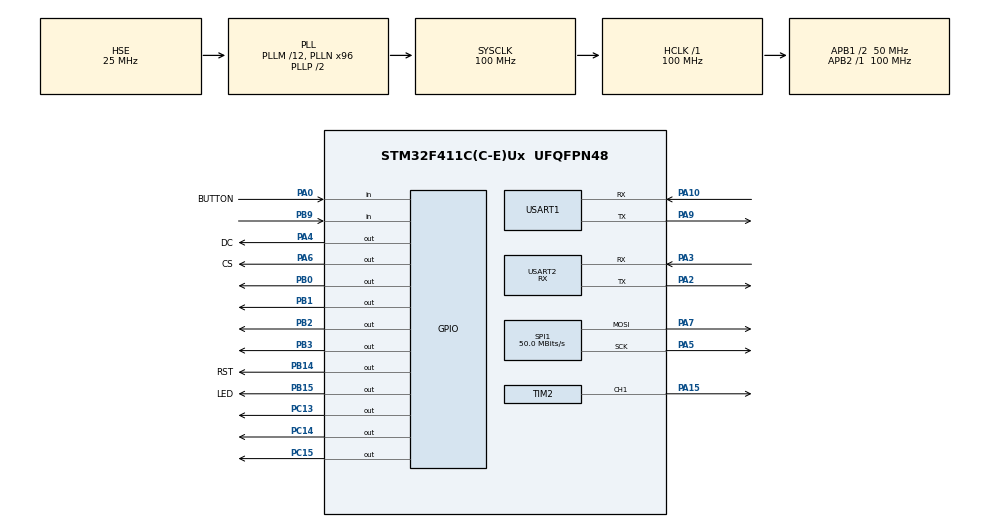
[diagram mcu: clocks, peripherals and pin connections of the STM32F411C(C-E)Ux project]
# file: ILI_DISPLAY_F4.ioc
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Mcu.Family=STM32F4
Mcu.Name=STM32F411C(C-E)Ux
Mcu.Package=UFQFPN48
NVIC.PriorityGroup=NVIC_PRIORITYGROUP_4
NVIC.USART1_IRQn=true\:0\:0\:true\:false\:true
NVIC.USART2_IRQn=true\:1\:0\:true\:false\:true
PA0-WKUP.GPIO_Label=BUTTON
PA0-WKUP.GPIO_PuPd=GPIO_PULLUP
PA0-WKUP.Signal=GPIO_Input
PA10.Mode=Asynchronous
PA10.Signal=USART1_RX
PA15.Signal=S_TIM2_CH1_ETR
PA2.Mode=Asynchronous
PA2.Signal=USART2_TX
PA3.Mode=Asynchronous
PA3.Signal=USART2_RX
PA4.GPIO_Label=DC
PA4.GPIO_Speed=GPIO_SPEED_FREQ_VERY_HIGH
PA4.Signal=GPIO_Output
PA5.Mode=TX_Only_Simplex_Unidirect_Master
PA5.Signal=SPI1_SCK
PA6.GPIO_Label=CS
PA6.GPIO_Speed=GPIO_SPEED_FREQ_VERY_HIGH
PA6.Signal=GPIO_Output
PA7.Mode=TX_Only_Simplex_Unidirect_Master
PA7.Signal=SPI1_MOSI
PA9.Mode=Asynchronous
PA9.Signal=USART1_TX
PB0.GPIO_Speed=GPIO_SPEED_FREQ_VERY_HIGH
PB0.Signal=GPIO_Output
PB1.GPIO_Speed=GPIO_SPEED_FREQ_VERY_HIGH
PB1.Signal=GPIO_Output
PB14.GPIO_Label=RST
PB14.GPIO_Speed=GPIO_SPEED_FREQ_VERY_HIGH
PB14.Signal=GPIO_Output
PB15.GPIO_Label=LED
PB15.GPIO_Speed=GPIO_SPEED_FREQ_VERY_HIGH
PB15.Signal=GPIO_Output
PB2.GPIO_Speed=GPIO_SPEED_FREQ_VERY_HIGH
PB2.Signal=GPIO_Output
PB3.GPIO_Speed=GPIO_SPEED_FREQ_VERY_HIGH
PB3.Signal=GPIO_Output
PB9.GPIO_PuPd=GPIO_NOPULL
PB9.Signal=GPIO_Input
PC13-ANTI_TAMP.Signal=GPIO_Output
PC14-OSC32_IN.Signal=GPIO_Output
PC15-OSC32_OUT.Signal=GPIO_Output
PH0\ -\ OSC_IN.Mode=HSE-External-Oscillator
PH0\ -\ OSC_IN.Signal=RCC_OSC_IN
PH1\ -\ OSC_OUT.Mode=HSE-External-Oscillator
PH1\ -\ OSC_OUT.Signal=RCC_OSC_OUT
ProjectManager.HeapSize=0x200
ProjectManager.StackSize=0x400
ProjectManager.TargetToolchain=MDK-ARM V5
RCC.48MHZClocksFreq_Value=50000000
RCC.AHBFreq_Value=100000000
RCC.APB1CLKDivider=RCC_HCLK_DIV2
RCC.APB1Freq_Value=50000000
RCC.APB1TimFreq_Value=100000000
RCC.APB2Freq_Value=100000000
RCC.APB2TimFreq_Value=100000000
RCC.CortexFreq_Value=100000000
RCC.HCLKFreq_Value=100000000
RCC.HSE_VALUE=25000000
RCC.HSI_VALUE=16000000
RCC.LSE_VALUE=32768
RCC.PLLM=12
RCC.PLLN=96
RCC.PLLSourceVirtual=RCC_PLLSOURCE_HSE
RCC.SYSCLKFreq_VALUE=100000000
RCC.SYSCLKSource=RCC_SYSCLKSOURCE_PLLCLK
RCC.VCOOutputFreq_Value=200000000
SH.S_TIM2_CH1_ETR.0=TIM2_CH1,PWM Generation1 CH1
SPI1.BaudRatePrescaler=SPI_BAUDRATEPRESCALER_2
SPI1.CLKPolarity=SPI_POLARITY_HIGH
SPI1.CalculateBaudRate=50.0 MBits/s
SPI1.Direction=SPI_DIRECTION_2LINES
SPI1.Mode=SPI_MODE_MASTER
SPI1.VirtualType=VM_MASTER
TIM2.Channel-PWM\ Generation1\ CH1=TIM_CHANNEL_1
TIM2.OCPolarity_1=TIM_OCPOLARITY_HIGH
TIM2.Period=255
TIM2.Prescaler=499
TIM2.Pulse-PWM\ Generation1\ CH1=0
TIM5.Period=4294967295
TIM5.Prescaler=40687
USART1.VirtualMode=VM_ASYNC
USART2.Mode=MODE_RX
USART2.VirtualMode=VM_ASYNC
VP_TIM2_VS_ClockSourceINT.Mode=Internal
VP_TIM5_VS_ClockSourceINT.Mode=Internal
board=ILI_DISPLAY_F4

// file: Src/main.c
/**
  ******************************************************************************
  * File Name          : main.c
  * Description        : Main program body
  ******************************************************************************
  ** This notice applies to any and all portions of this file
  * that are not between comment pairs USER CODE BEGIN and
  * USER CODE END. Other portions of this file, whether
  * inserted by the user or by software development tools
  * are owned by their respective copyright owners.
  *
  * COPYRIGHT(c) 2023 STMicroelectronics
  *
  * Redistribution and use in source and binary forms, with or without modification,
  * are permitted provided that the following conditions are met:
  *   1. Redistributions of source code must retain the above copyright notice,
  *      this list of conditions and the following disclaimer.
  *   2. Redistributions in binary form must reproduce the above copyright notice,
  *      this list of conditions and the following disclaimer in the documentation
  *      and/or other materials provided with the distribution.
  *   3. Neither the name of STMicroelectronics nor the names of its contributors
  *      may be used to endorse or promote products derived from this software
  *      without specific prior written permission.
  *
  * THIS SOFTWARE IS PROVIDED BY THE COPYRIGHT HOLDERS AND CONTRIBUTORS "AS IS"
  * AND ANY EXPRESS OR IMPLIED WARRANTIES, INCLUDING, BUT NOT LIMITED TO, THE
  * IMPLIED WARRANTIES OF MERCHANTABILITY AND FITNESS FOR A PARTICULAR PURPOSE ARE
  * DISCLAIMED. IN NO EVENT SHALL THE COPYRIGHT HOLDER OR CONTRIBUTORS BE LIABLE
  * FOR ANY DIRECT, INDIRECT, INCIDENTAL, SPECIAL, EXEMPLARY, OR CONSEQUENTIAL
  * DAMAGES (INCLUDING, BUT NOT LIMITED TO, PROCUREMENT OF SUBSTITUTE GOODS OR
  * SERVICES; LOSS OF USE, DATA, OR PROFITS; OR BUSINESS INTERRUPTION) HOWEVER
  * CAUSED AND ON ANY THEORY OF LIABILITY, WHETHER IN CONTRACT, STRICT LIABILITY,
  * OR TORT (INCLUDING NEGLIGENCE OR OTHERWISE) ARISING IN ANY WAY OUT OF THE USE
  * OF THIS SOFTWARE, EVEN IF ADVISED OF THE POSSIBILITY OF SUCH DAMAGE.
  *
  ******************************************************************************
  */
#include "main.h"
#include "stm32f4xx_hal.h"
#include "spi.h"
#include "tim.h"
#include "usart.h"
#include "gpio.h"

/* USER CODE BEGIN Includes */
#include "spi_ili9341.h"
#include "global_variables.h"
#include "gui_static.h"
#include "sector_giu.h"
#include "cue_giu.h"

extern __IO uint32_t uwTick;

/* USER CODE END Includes */

/* USER CODE BEGIN PV */
/* Private variables ---------------------------------------------------------*/

////////////////////////////////////////////////////////////////////////////////////////
//
//		Product: Stanton JOG LCD
//
//		file global_variables.h - cooment this line, when deck B used
//
//
////////////////////////////////////////////////////////////////////////////////////////
//
//
//
//	ver. 03032025
//	-	improved TFT9341_DrawPixel function. Delete extra 2 bytes removed CASET and RASET
//
//
//
//
//
//
//
////////////////////////////////////////////////////////////////////////////////////////

/////////////////////////////////////////////////////////////////////////FLASH MEM
//#define SETUP_START_ADDR   0x08040000
//uint16_t WRITE_DATA = 0xFFFF;

/* USER CODE END PV */

void SystemClock_Config(void);

/* USER CODE BEGIN PFP */
/* Private function prototypes -----------------------------------------------*/
uint16_t CALC_COLOR(uint8_t intense, uint8_t color_num);
void RECALCULATE_SECTOR(void);
void DRAW_COVER(uint8_t num);
void DRAW_LOGO(void);
void BACKLIGHT_UP(void);
void BACKLIGHT_DOWN(void);
//void WriteFlash(uint32_t addr, uint16_t data);

/* USER CODE END PFP */

int main(void)
{

  /* MCU Configuration----------------------------------------------------------*/

  /* Reset of all peripherals, Initializes the Flash interface and the Systick. */
  HAL_Init();

  /* Configure the system clock */
  SystemClock_Config();

  /* Initialize all configured peripherals */
  MX_GPIO_Init();
  MX_SPI1_Init();
  MX_USART1_UART_Init();
  MX_TIM2_Init();
  MX_USART2_UART_Init();
  MX_TIM5_Init();

  /* USER CODE BEGIN 2 */

	HAL_Delay(1000);
	HAL_GPIO_WritePin(GPIOB, RST_Pin, GPIO_PIN_SET);
	CS_ACTIVE();
	__HAL_SPI_ENABLE(&hspi1);
	TIM2->CCR1 = 0;
	HAL_TIM_PWM_Start(&htim2, TIM_CHANNEL_1);		//PWM on
  TFT9341_ini(320, 240);
	DRAW_LOGO();
	BACKLIGHT_UP();

	#ifdef DECK_A
	HAL_Delay(85000);
	HAL_GPIO_WritePin(GPIOC, GPIO_PIN_15, GPIO_PIN_SET);		//turn on main lcd backlight
	HAL_Delay(65000);
	#endif

	#ifndef DECK_A
	HAL_Delay(150000);
	#endif

	BACKLIGHT_DOWN();
	TFT9341_FillScreen(TFT9341_BLACK);
	for(px=0;px<76800;px++)
		{
		_x = 319-(px%320);
		_y = px/320;
		A = _x-160;
		B = _y-120;
		A*=A;
		B*=B;
		B+=A;
		if(B<190)
			{
			//TFT9341_DrawPixel(_x, _y, TFT9341_BLACK);
			}
		else if(B<1130)
			{
			TFT9341_DrawPixel(_x, _y, 0x3188);
			}
		else if(B<7300)
			{
			TFT9341_DrawPixel(_x, _y, 0x4A4B);
			//WriteFlash(_x+(320*_y), 0x4A4B);
			}
		else if(B<10001)
			{
			//TFT9341_DrawPixel(_x, _y, TFT9341_BLACK);
			}
		else
			{
			TFT9341_DrawPixel(_x, _y, 256*bkgnd[2*px+1]+bkgnd[2*px]);
			//WriteFlash(_x+(320*_y), 256*bkgnd[2*px+1]+bkgnd[2*px]);
			}
		//TFT9341_SendPixel(_x, _y, bkgnd[2*px+1], bkgnd[2*px]);
		}

	for(e=0;e<7260;e++)			//init variables
		{
		frame[e] = 0xFF;
		changes[e] = 0xFF;
		}

	BACKLIGHT_UP();
	HAL_Delay(10000);
	USART1->CR1 |= USART_CR1_RXNEIE; //interrupt for a RX Panel->STM enable
	USART2->CR1 |= USART_CR1_RXNEIE; //interrupt for a RX ARM->STM enable

	HAL_TIM_Base_Start_IT(&htim5);
	TIM5->CNT = 0;
  /* USER CODE END 2 */

  /* Infinite loop */
  /* USER CODE BEGIN WHILE */
  while (1)
  {
	if(TOUCH_ENABLE==0)
		{
		RECALCULATE_SECTOR();
		}
	RedrawSector((sect_pos>>15)%135);

	if(HAL_GPIO_ReadPin(BUTTON_GPIO_Port, BUTTON_Pin)==0 && BUTTON_pressed==0)
		{
		BUTTON_pressed = 1;
		}
	else if(HAL_GPIO_ReadPin(BUTTON_GPIO_Port, BUTTON_Pin)==1 && BUTTON_pressed==1)
		{
		BUTTON_pressed = 0;
		}

//	if(need_send_debug>0)
//		{
//		if(need_send_debug==1)
//			{
//			U_TX_DATA[0] = lcd_lay;
//			}
//		HAL_UART_Transmit(&huart1, U_TX_DATA, need_send_debug, 30);
//		need_send_debug = 0;
//		}

	if(need_load_track>0)
		{
		if(need_load_track==6)
			{
			load_animation_t = uwTick;
			TIM2->CCR1 = 0;
			first_loading = 0;
			if(covr<3)
				{
				covr++;
				}
			else
				{
				covr = 0;
				}
			DRAW_COVER(covr);
			PITCH = 0;
			CUE_ADDR = uwTick%135;
			HCUE_ADDR[0] = (CUE_ADDR+56)%135;
			RedrawCue(CUE_ADDR, TFT9341_RED);
			PREVIOUS_CUE_TYPE[0] = CUE_ADDR;
			PREVIOUS_CUE_TYPE[1] = 0;
			HCUE_ADDR[1]	= uwTick%135;
			RedrawSector(CUE_ADDR);
			HCUE_ADDR[2]	= uwTick%135;
			sect_pos = CUE_ADDR<<15;
			need_load_track--;
			}
		else if(need_load_track==5)
			{
			if((uwTick-load_animation_t)>animation_wait)
				{
				TIM2->CCR1 = PWM_MAX;
				load_animation_t = uwTick;
				need_load_track--;
				}
			}
		else if(need_load_track==4)
			{
			if((uwTick-load_animation_t)>animation_wait)
				{
				TIM2->CCR1 = 0;
				load_animation_t = uwTick;
				need_load_track--;
				}
			}
		else if(need_load_track==3)
			{
			if((uwTick-load_animation_t)>animation_wait)
				{
				TIM2->CCR1 = PWM_MAX;
				load_animation_t = uwTick;
				need_load_track--;
				}
			}
		else if(need_load_track==2)
			{
			if((uwTick-load_animation_t)>animation_wait)
				{
				TIM2->CCR1 = 0;
				load_animation_t = uwTick;
				need_load_track--;
				}
			}
		else if(need_load_track==1)
			{
			if((uwTick-load_animation_t)>animation_wait)
				{
				CUE_LED_H;
				TIM2->CCR1 = PWM_MAX;
				load_animation_t = uwTick;
				need_load_track--;
				}
			}
		}

	if(need_free_stop)
		{
		if((uwTick-stop_t)>74)
			{
			if(PITCH>5)
				{
				PITCH-=5;
				}
			else
				{
				PITCH = 0;
				need_free_stop = 0;
				}
			stop_t = uwTick;
			}

		}

	if(need_redraw_cue>0)
		{
		if((need_redraw_cue==4) && ((PREVIOUS_CUE_TYPE[0]!=CUE_ADDR) || (PREVIOUS_CUE_TYPE[1]!=0)))
			{
			RedrawCue(CUE_ADDR, TFT9341_RED);
			PREVIOUS_CUE_TYPE[0] = CUE_ADDR;
			PREVIOUS_CUE_TYPE[1] = 0;
			}
		else if((need_redraw_cue<4) && ((HCUE_ADDR[(need_redraw_cue-1)]!=PREVIOUS_CUE_TYPE[0]) || (PREVIOUS_CUE_TYPE[1]!=1)))
			{
			RedrawCue(HCUE_ADDR[(need_redraw_cue-1)], TFT9341_GREEN);
			PREVIOUS_CUE_TYPE[0] = HCUE_ADDR[(need_redraw_cue-1)];
			PREVIOUS_CUE_TYPE[1] = 1;
			}
		need_redraw_cue = 0;
		}

	if(need_turnoff==1)
		{
		CUE_LED_L;
		PITCH = 0;
		RedrawCue((CUE_ADDR+5)%135, TFT9341_BLACK);
		BACKLIGHT_DOWN();
		DRAW_LOGO();
		BACKLIGHT_UP();
		while(1)
			{}
		}

  /* USER CODE END WHILE */

  }

}

/** System Clock Configuration
*/
void SystemClock_Config(void)
{

  RCC_OscInitTypeDef RCC_OscInitStruct;
  RCC_ClkInitTypeDef RCC_ClkInitStruct;

    /**Configure the main internal regulator output voltage
    */
  __HAL_RCC_PWR_CLK_ENABLE();

  __HAL_PWR_VOLTAGESCALING_CONFIG(PWR_REGULATOR_VOLTAGE_SCALE1);

    /**Initializes the CPU, AHB and APB busses clocks
    */
  RCC_OscInitStruct.OscillatorType = RCC_OSCILLATORTYPE_HSE;
  RCC_OscInitStruct.HSEState = RCC_HSE_ON;
  RCC_OscInitStruct.PLL.PLLState = RCC_PLL_ON;
  RCC_OscInitStruct.PLL.PLLSource = RCC_PLLSOURCE_HSE;
  RCC_OscInitStruct.PLL.PLLM = 12;
  RCC_OscInitStruct.PLL.PLLN = 96;
  RCC_OscInitStruct.PLL.PLLP = RCC_PLLP_DIV2;
  RCC_OscInitStruct.PLL.PLLQ = 4;
  if (HAL_RCC_OscConfig(&RCC_OscInitStruct) != HAL_OK)
  {
    _Error_Handler(__FILE__, __LINE__);
  }

    /**Initializes the CPU, AHB and APB busses clocks
    */
  RCC_ClkInitStruct.ClockType = RCC_CLOCKTYPE_HCLK|RCC_CLOCKTYPE_SYSCLK
                              |RCC_CLOCKTYPE_PCLK1|RCC_CLOCKTYPE_PCLK2;
  RCC_ClkInitStruct.SYSCLKSource = RCC_SYSCLKSOURCE_PLLCLK;
  RCC_ClkInitStruct.AHBCLKDivider = RCC_SYSCLK_DIV1;
  RCC_ClkInitStruct.APB1CLKDivider = RCC_HCLK_DIV2;
  RCC_ClkInitStruct.APB2CLKDivider = RCC_HCLK_DIV1;

  if (HAL_RCC_ClockConfig(&RCC_ClkInitStruct, FLASH_LATENCY_3) != HAL_OK)
  {
    _Error_Handler(__FILE__, __LINE__);
  }

    /**Configure the Systick interrupt time
    */
  HAL_SYSTICK_Config(HAL_RCC_GetHCLKFreq()/10000);					//1000

    /**Configure the Systick
    */
  HAL_SYSTICK_CLKSourceConfig(SYSTICK_CLKSOURCE_HCLK);

  /* SysTick_IRQn interrupt configuration */
  HAL_NVIC_SetPriority(SysTick_IRQn, 0, 0);
}

/* USER CODE BEGIN 4 */

///////////////////////////////////////////////////////////////////////////////
//
//
//
//void WriteFlash(uint32_t addr, uint16_t data)
//	{
//		HAL_FLASH_Unlock();
//		CLEAR_BIT(FLASH->CR, FLASH_CR_PG);
//		if(FLASH_WaitForLastOperation(50000) != HAL_TIMEOUT)
//			{
//			__HAL_FLASH_CLEAR_FLAG(	FLASH_FLAG_EOP | FLASH_SR_PGPERR | FLASH_FLAG_BSY | FLASH_SR_PGSERR );
//			}
//		HAL_FLASH_Program(FLASH_TYPEPROGRAM_HALFWORD, SETUP_START_ADDR + 2*addr, data);
//		HAL_FLASH_Lock();
//	}

///////////////////////////////////////////////////////////////////////////////
//
//   calculate color
//
uint16_t CALC_COLOR(uint8_t intense, uint8_t color_num)
	{
	uint16_t r, g, b;
	if(color_num==0)  //white
		{
		r = (31*intense)>>8;
		g = (63*intense)>>8;
		b = r;
		}
	else if(color_num==1)  //pioneer color
		{
		r = (24*intense)>>8;
		g = (5*intense)>>8;
		b = (7*intense)>>8;
		}
	return r*2048 + g*32 + b;
	}

///////////////////////////////////////////////////////////////////////////////
//
//   calculate sector
//
void RECALCULATE_SECTOR(void)
	{
	cnt_tick = TIM5->CNT;
	TIM5->CNT = 0;
	cnt_tick*=PITCH;
	sect_pos+= cnt_tick;
	sect_pos%= 4423680;
	}

///////////////////////////////////////////////////////////////////////////////
//
//   draw cover 0 - disc 1-from background 2-(cover 1) 3-(cover 2)
//
void DRAW_COVER(uint8_t num)
	{
	uint16_t i;
	if(num==0)						//disc
		{
		for(i=0;i<29241;i++)
			{
			_x = 75+(i%171);
			_y = 35+(i/171);
			A = _x-160;
			B = _y-120;
			A*=A;
			B*=B;
			B+=A;
			if(B<190)
				{
				TFT9341_DrawPixel(_x, _y, TFT9341_BLACK);
				}
			else if(B<1130)
				{
				TFT9341_DrawPixel(_x, _y, 0x3188);
				}
			else if(B<7300)
				{
				TFT9341_DrawPixel(_x, _y, 0x4A4B);
				}
			}
		}
	else if(num==1)								//background cover
		{
		for(i=0;i<29241;i++)
			{
			_x = 75+(i%171);
			_y = 35+(i/171);
			A = _x-160;
			B = _y-120;
			A*=A;
			B*=B;
			B+=A;
			if(B<7300)
				{
				TFT9341_SendPixel(_x, _y, bkgnd[2*(_y*320+319-_x)+1], bkgnd[2*(_y*320+319-_x)]);
				}
			}
		}
	else if(num==2)								//cover 1
		{
		for(i=0;i<29241;i++)
			{
			_x = 75+(i%171);
			_y = 35+(i/171);
			A = _x-160;
			B = _y-120;
			A*=A;
			B*=B;
			B+=A;
			if(B<7300)
				{
				TFT9341_SendPixel(_x, _y, cover_1[2*i+1], cover_1[2*i]);
				}
			}
		}
	else if(num==3)								//cover 2
		{
		for(i=0;i<29241;i++)
			{
			_x = 75+(i%171);
			_y = 35+(i/171);
			A = _x-160;
			B = _y-120;
			A*=A;
			B*=B;
			B+=A;
			if(B<7300)
				{
				TFT9341_SendPixel(_x, _y, cover_2[2*i+1], cover_2[2*i]);
				}
			}
		}
	return;
	}

#include "uart_panel.h"
#include "uart_arm.h"

///////////////////////////////////////////////////////////////////////////////
//
//
//
void BACKLIGHT_UP(void)
	{
	for(e=0;e<PWM_MAX;e++)
		{
		TIM2->CCR1 = e;
		HAL_Delay(40);			//Delay 4ms
		}
	TIM2->CCR1 = PWM_MAX;
	}

///////////////////////////////////////////////////////////////////////////////
//
//
//
void BACKLIGHT_DOWN(void)
	{
	for(e=PWM_MAX;e>0;e--)
		{
		TIM2->CCR1 = e;
		HAL_Delay(40);			//Delay 4ms
		}
	TIM2->CCR1 = 0;
	}

///////////////////////////////////////////////////////////////////////////////
//
//
//
void DRAW_LOGO(void)
	{
	TFT9341_FillScreen(TFT9341_BLACK);
	for(e=0;e<13720;e++)						/////// DRAW LOGO ON
		{
		if(LOGO[e]!=0x00)			//color not black
			{
			#ifdef DECK_A
			TFT9341_DrawPixel(20+(e%280), 141-(e/280), CALC_COLOR(LOGO[e], 0));
			#endif

			#ifndef DECK_A
			if((e%280)<48)
				{
				TFT9341_DrawPixel(20+(e%280), 141-(e/280), CALC_COLOR(LOGO[e], 0));
				}
			else if((e%280)<166)
				{
				TFT9341_DrawPixel(20+(e%280), 141-(e/280), CALC_COLOR(LOGO[e], 1));
				}
			else if((e%280)<225)
				{
				TFT9341_DrawPixel(20+(e%280), 141-(e/280), CALC_COLOR(LOGO[e], 0));
				}
			else
				{
				TFT9341_DrawPixel(20+(e%280), 141-(e/280), CALC_COLOR(LOGO[e], 1));
				}
			#endif
			}
		}
	}

/* USER CODE END 4 */

void _Error_Handler(char * file, int line)
{
  while(1)
  {
  }
}

/************************ (C) COPYRIGHT STMicroelectronics *****END OF FILE****/
